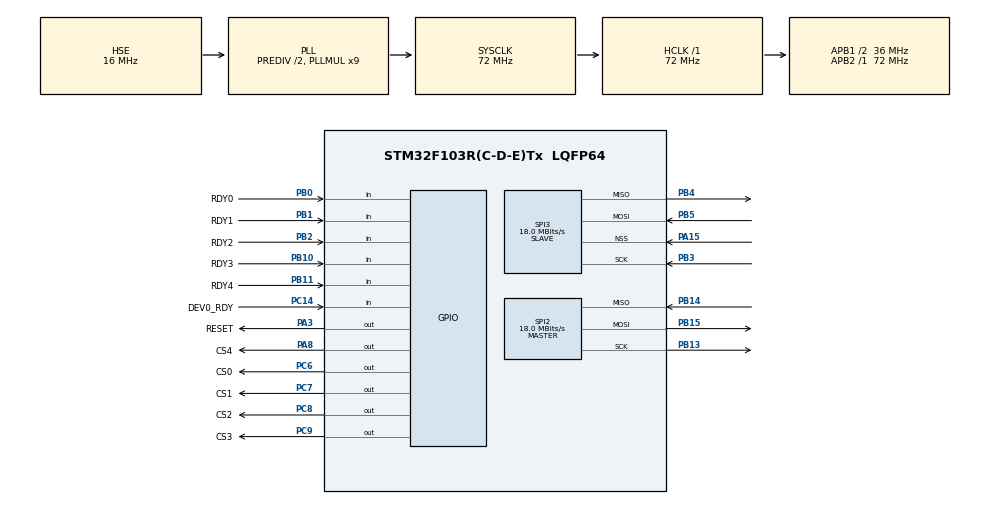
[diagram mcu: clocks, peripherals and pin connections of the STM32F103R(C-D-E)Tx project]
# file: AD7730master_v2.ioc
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Dma.Request0=SPI3_RX
Dma.Request1=SPI3_TX
Dma.SPI3_RX.0.Direction=DMA_PERIPH_TO_MEMORY
Dma.SPI3_RX.0.Instance=DMA2_Channel1
Dma.SPI3_RX.0.MemDataAlignment=DMA_MDATAALIGN_BYTE
Dma.SPI3_RX.0.MemInc=DMA_MINC_ENABLE
Dma.SPI3_RX.0.Mode=DMA_NORMAL
Dma.SPI3_RX.0.PeriphDataAlignment=DMA_PDATAALIGN_BYTE
Dma.SPI3_RX.0.PeriphInc=DMA_PINC_DISABLE
Dma.SPI3_RX.0.Priority=DMA_PRIORITY_VERY_HIGH
Dma.SPI3_TX.1.Direction=DMA_MEMORY_TO_PERIPH
Dma.SPI3_TX.1.Instance=DMA2_Channel2
Dma.SPI3_TX.1.MemDataAlignment=DMA_MDATAALIGN_BYTE
Dma.SPI3_TX.1.MemInc=DMA_MINC_ENABLE
Dma.SPI3_TX.1.Mode=DMA_NORMAL
Dma.SPI3_TX.1.PeriphDataAlignment=DMA_PDATAALIGN_BYTE
Dma.SPI3_TX.1.PeriphInc=DMA_PINC_DISABLE
Dma.SPI3_TX.1.Priority=DMA_PRIORITY_VERY_HIGH
Mcu.Family=STM32F1
Mcu.Name=STM32F103R(C-D-E)Tx
Mcu.Package=LQFP64
NVIC.DMA2_Channel1_IRQn=true\:1\:0\:true\:false\:true\:false\:true
NVIC.DMA2_Channel2_IRQn=true\:1\:0\:true\:false\:true\:false\:true
NVIC.PriorityGroup=NVIC_PRIORITYGROUP_4
NVIC.SPI2_IRQn=true\:1\:0\:true\:false\:true\:true\:true
PA13.Mode=Serial_Wire
PA13.Signal=SYS_JTMS-SWDIO
PA14.Mode=Serial_Wire
PA14.Signal=SYS_JTCK-SWCLK
PA15.Mode=NSS_Signal_Hard_Input
PA15.Signal=SPI3_NSS
PA3.GPIO_Label=RESET
PA3.GPIO_ModeDefaultOutputPP=GPIO_MODE_OUTPUT_PP
PA3.GPIO_PuPd=GPIO_PULLUP
PA3.PinState=GPIO_PIN_SET
PA3.Signal=GPIO_Output
PA8.GPIO_Label=CS4
PA8.GPIO_PuPd=GPIO_PULLUP
PA8.PinState=GPIO_PIN_SET
PA8.Signal=GPIO_Output
PB0.GPIO_Label=RDY0
PB0.Signal=GPIO_Input
PB1.GPIO_Label=RDY1
PB1.Signal=GPIO_Input
PB10.GPIO_Label=RDY3
PB10.Signal=GPIO_Input
PB11.GPIO_Label=RDY4
PB11.Signal=GPIO_Input
PB13.Mode=Full_Duplex_Master
PB13.Signal=SPI2_SCK
PB14.GPIO_PuPd=GPIO_NOPULL
PB14.Mode=Full_Duplex_Master
PB14.Signal=SPI2_MISO
PB15.Mode=Full_Duplex_Master
PB15.Signal=SPI2_MOSI
PB2.GPIO_Label=RDY2
PB2.Signal=GPIO_Input
PB3.GPIO_PuPd=GPIO_NOPULL
PB3.Mode=Full_Duplex_Slave
PB3.Signal=SPI3_SCK
PB4.Mode=Full_Duplex_Slave
PB4.Signal=SPI3_MISO
PB5.Mode=Full_Duplex_Slave
PB5.Signal=SPI3_MOSI
PC14-OSC32_IN.GPIO_Label=DEV0_RDY
PC14-OSC32_IN.Signal=GPIO_Input
PC6.GPIO_Label=CS0
PC6.GPIO_PuPd=GPIO_PULLUP
PC6.PinState=GPIO_PIN_SET
PC6.Signal=GPIO_Output
PC7.GPIO_Label=CS1
PC7.GPIO_PuPd=GPIO_PULLUP
PC7.PinState=GPIO_PIN_SET
PC7.Signal=GPIO_Output
PC8.GPIO_Label=CS2
PC8.GPIO_PuPd=GPIO_PULLUP
PC8.PinState=GPIO_PIN_SET
PC8.Signal=GPIO_Output
PC9.GPIO_Label=CS3
PC9.GPIO_PuPd=GPIO_PULLUP
PC9.PinState=GPIO_PIN_SET
PC9.Signal=GPIO_Output
PD0-OSC_IN.Mode=HSE-External-Oscillator
PD0-OSC_IN.Signal=RCC_OSC_IN
PD1-OSC_OUT.Mode=HSE-External-Oscillator
PD1-OSC_OUT.Signal=RCC_OSC_OUT
ProjectManager.HeapSize=0x200
ProjectManager.StackSize=0x400
ProjectManager.TargetToolchain=STM32CubeIDE
RCC.AHBFreq_Value=72000000
RCC.APB1CLKDivider=RCC_HCLK_DIV2
RCC.APB1Freq_Value=36000000
RCC.APB1TimFreq_Value=72000000
RCC.APB2Freq_Value=72000000
RCC.APB2TimFreq_Value=72000000
RCC.HCLKFreq_Value=72000000
RCC.HSEDivPLL=RCC_HSE_PREDIV_DIV2
RCC.HSE_VALUE=16000000
RCC.PLLMUL=RCC_PLL_MUL9
RCC.PLLSourceVirtual=RCC_PLLSOURCE_HSE
RCC.SYSCLKFreq_VALUE=72000000
RCC.SYSCLKSource=RCC_SYSCLKSOURCE_PLLCLK
RCC.USBFreq_Value=72000000
SPI2.BaudRatePrescaler=SPI_BAUDRATEPRESCALER_2
SPI2.CLKPhase=SPI_PHASE_2EDGE
SPI2.CalculateBaudRate=18.0 MBits/s
SPI2.Direction=SPI_DIRECTION_2LINES
SPI2.Mode=SPI_MODE_MASTER
SPI2.VirtualType=VM_MASTER
SPI3.BaudRatePrescaler=SPI_BAUDRATEPRESCALER_2
SPI3.CLKPhase=SPI_PHASE_2EDGE
SPI3.CLKPolarity=SPI_POLARITY_LOW
SPI3.CalculateBaudRate=18.0 MBits/s
SPI3.Direction=SPI_DIRECTION_2LINES
SPI3.Mode=SPI_MODE_SLAVE
SPI3.VirtualNSS=VM_NSSHARD
SPI3.VirtualType=VM_SLAVE
board=custom

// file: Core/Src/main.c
/* USER CODE BEGIN Header */
/**
  ******************************************************************************
  * @file           : main.c
  * @brief          : Main program body
  ******************************************************************************
  * @attention
  *
  * <h2><center>&copy; Copyright (c) 2020 STMicroelectronics.
  * All rights reserved.</center></h2>
  *
  * This software component is licensed by ST under BSD 3-Clause license,
  * the "License"; You may not use this file except in compliance with the
  * License. You may obtain a copy of the License at:
  *                        opensource.org/licenses/BSD-3-Clause
  *
  ******************************************************************************
  */
/* USER CODE END Header */
#include "main.h"
#include "dma.h"
#include "spi.h"
#include "gpio.h"

/* USER CODE BEGIN Includes */
#include "stdio.h"
#include "ad7730.h"
/* USER CODE END Includes */

/* USER CODE BEGIN PV */
uint8_t tx_buffer_3[BUFFER_SIZE_SPI3] = {READ_CONFIG,0,0x21,0xB0,0,0x04,0xB0,0x10,
										 0,0,0,0,0,0,0,0,
										 0,0,0,0,0,0,0,0,
										 0,0,0,0,0,0,0,0,
										 0,0,0,0,0,0,0,0,
										 0,0,0,0,0,0,0,0,
										 0,0,0,0,0,0,0,0,
										 0,0,0,0,0,0,0,0};

/* RX_BUFFER FORMAT
 * shadow_buffer[0:slave_state, 1:update_mode_params, 2-3:mode_params{w/o channel}, 4:update_filter_params, 5-7:filter_params]
 */
uint8_t rx_buffer_3[BUFFER_SIZE_SPI3] = {READ_CONFIG,0,0x21,0xB0,0,0x04,0xB0,0x10,
										 0,0,0,0,0,0,0,0,
										 0,0,0,0,0,0,0,0,
										 0,0,0,0,0,0,0,0,
										 0,0,0,0,0,0,0,0,
										 0,0,0,0,0,0,0,0,
										 0,0,0,0,0,0,0,0,
										 0,0,0,0,0,0,0,0};

//uint8_t rx_buffer_3[BUFFER_SIZE_SPI3] = {MONITOR,0x01,0x41,0x80,0x01,0x80,0x00,0x10,
//										 0,0,0,0,0,0,0,0,
//										 0,0,0,0,0,0,0,0,
//										 0,0,0,0,0,0,0,0,
//										 0,0,0,0,0,0,0,0,
//										 0,0,0,0,0,0,0,0,
//										 0,0,0,0,0,0,0,0,
//										 0,0,0,0,0,0,0,0};

/* SHADOW_BUFFER FORMAT
 * shadow_buffer[0...47:channel_1-16, 63:slave_state]
 */
uint8_t shadow_buffer_3_0[BUFFER_SIZE_SPI3];
uint8_t shadow_buffer_3_1[BUFFER_SIZE_SPI3];

uint8_t tx_buffer_2[BUFFER_SIZE_SPI2];
uint8_t rx_buffer_2[BUFFER_SIZE_SPI2];

/*
 * DEBUG_BUFFER
 */
//uint8_t shadow_buffer_3_2[BUFFER_SIZE_SPI3] = {0,0,1,0,0,1,0,0,
//											   1,0,0,1,0,0,1,0,
//											   0,1,0,0,1,0,0,1,
//											   0,0,1,0,0,1,0,0,
//											   1,0,0,1,0,0,1,0,
//											   0,1,0,0,1,0,0,1,
//											   0,0,1,0,0,1,0,0,
//											   1,0,0,1,0,0,0,0};

uint8_t shadow_buffer_3_2[BUFFER_SIZE_SPI3] = {0xDE,0xAD,0xBE,0xEF,0xDE,0xAD,0xBE,0xEF,
											   0xDE,0xAD,0xBE,0xEF,0xDE,0xAD,0xBE,0xEF,
											   0xDE,0xAD,0xBE,0xEF,0xDE,0xAD,0xBE,0xEF,
											   0xDE,0xAD,0xBE,0xEF,0xDE,0xAD,0xBE,0xEF,
											   0xDE,0xAD,0xBE,0xEF,0xDE,0xAD,0xBE,0xEF,
											   0xDE,0xAD,0xBE,0xEF,0xDE,0xAD,0xBE,0xEF,
											   0xDE,0xAD,0xBE,0xEF,0xDE,0xAD,0xBE,0xEF,
											   0xDE,0xAD,0xBE,0xEF,0xDE,0xAD,0xBE,0xEF,};

//Controller_State slave_state = CHECKING_SPI2;
Controller_State slave_state = READ_CONFIG;
uint8_t active_buffer = 0;
uint8_t buffer_updated = 0;
uint8_t conv_cmd = 0;

// Parameters
uint8_t AD7730_REGISTER_SIZE[8] = {1, 3, 2, 3, 1, 3, 3, 3}; //IO, DATA, MODE, FILTER, DAC, OFFSET, GAIN, TEST
uint8_t mode_register[2] = {0x51, 0xB4}; //01010001, 10110100 : modebits(3)| B/U | D_enable | D_value(2) | word length for data register, HIREF |0| input range(2) | MCLKdisable | burn out | Channel selection(2)
//single conversion mode | unipolar | AIN2 set as input | 00 | 24bit, ref=5v |0| Input range: 0to80mV | MCLKenable | burnout on | AIN1+ & AIN1-
uint8_t filter_register[3] = {0x80, 0x03, 0x10}; //default
uint8_t dac_register[TRANSDUCER_NUMBER] = {0x20, 0x20, 0x20}; //default
//uint8_t filter_register[3] = {0x80, 0x00, 0x10}; //SF value = 2048 Base sample rate of 50 Hz, SKIP OFF | FAST OFF, CHOP ON
/* USER CODE END PV */

void SystemClock_Config(void);
/* USER CODE BEGIN PFP */

static inline void copy_buffer(uint8_t dest_buffer[], uint8_t dest_size, uint8_t src_buffer[], uint8_t src_size) {
  for (uint8_t idx = 0; idx < src_size; idx++) {
    dest_buffer[idx] = src_buffer[idx];
  }
}

static inline void set_state(uint8_t command_idx) {
  switch (command_idx) {
    case 0xFD: //11111101, 253
      slave_state = MONITOR;
      break;

    case 0xFC: //11111100, 252
      slave_state = PROVIDE_DATA;
      break;

    case 0xFB: //11111011, 251
      slave_state = CHECKING_SPI2;
      break;

    case 0xFA: //11111010, 250
      slave_state = SETTING;
      break;

    default:
      slave_state = READ_CONFIG;
  }
}

void HAL_SPI_TxRxCpltCallback(SPI_HandleTypeDef *hspi) {

  if (hspi->Instance == SPI3) {
//    switch (active_buffer) {
//      case 0:
//        shadow_buffer_3_1[63] = slave_state; //3_1
//        HAL_SPI_TransmitReceive_DMA(&hspi3, shadow_buffer_3_1, rx_buffer_3, BUFFER_SIZE_SPI3);
////        HAL_SPI_TransmitReceive_DMA(&hspi3, shadow_buffer_3_2, rx_buffer_3, BUFFER_SIZE_SPI3);
//        buffer_updated = 1;
//        break;
//
//      case 1:
//        shadow_buffer_3_0[63] = slave_state; //3_0
//        HAL_SPI_TransmitReceive_DMA(&hspi3, shadow_buffer_3_0, rx_buffer_3, BUFFER_SIZE_SPI3);
////        HAL_SPI_TransmitReceive_DMA(&hspi3, shadow_buffer_3_2, rx_buffer_3, BUFFER_SIZE_SPI3);
//        buffer_updated = 1;
//        break;
//    }
    tx_buffer_3[63] = slave_state;
    HAL_SPI_TransmitReceive_DMA(&hspi3, tx_buffer_3, rx_buffer_3, BUFFER_SIZE_SPI3);

    set_state(rx_buffer_3[0]);
    if (rx_buffer_3[1] != 0)
    {
    	mode_register[0] = rx_buffer_3[2];
    	mode_register[1] = rx_buffer_3[3];
    }
    if (rx_buffer_3[4] != 0)
    {
    	filter_register[0] = rx_buffer_3[5];
    	filter_register[1] = rx_buffer_3[6];
    	filter_register[2] = rx_buffer_3[7];
    }
    if (rx_buffer_3[8] != 0)
	{
		for(uint8_t i = 0; i < TRANSDUCER_NUMBER; i++){
			dac_register[0] = rx_buffer_3[i+8];
		}
	}
  }

}
/* USER CODE END PFP */

int main(void)
{
  /* USER CODE BEGIN 1 */
//  setbuf(stdout, NULL);
  /* USER CODE END 1 */

  /* MCU Configuration--------------------------------------------------------*/

  /* Reset of all peripherals, Initializes the Flash interface and the Systick. */
  HAL_Init();

  /* Configure the system clock */
  SystemClock_Config();

  /* Initialize all configured peripherals */
  MX_GPIO_Init();
  MX_DMA_Init();
  MX_SPI2_Init();
  MX_SPI3_Init();
  /* USER CODE BEGIN 2 */
  static struct Transducer_SS_Info slave_infos[5] = { { CS0_Pin, CS0_GPIO_Port }, { CS1_Pin, CS1_GPIO_Port }, { CS2_Pin, CS2_GPIO_Port }, { CS3_Pin, CS3_GPIO_Port }, { CS4_Pin, CS4_GPIO_Port }};
  static struct Transducer_RDY_Info ready_infos[5] = { { RDY0_Pin, RDY0_GPIO_Port }, { RDY1_Pin, RDY1_GPIO_Port }, { RDY2_Pin, RDY2_GPIO_Port }, { RDY3_Pin, RDY3_GPIO_Port }, { RDY4_Pin, RDY4_GPIO_Port }};
  /* USER CODE END 2 */

  /* Infinite loop */
  /* USER CODE BEGIN WHILE */
//  HAL_GPIO_WritePin(RESET_GPIO_Port, RESET_Pin, GPIO_PIN_SET);
//  HAL_GPIO_WritePin(CS0_GPIO_Port, CS0_Pin, GPIO_PIN_SET);
//  HAL_GPIO_WritePin(CS1_GPIO_Port, CS1_Pin, GPIO_PIN_SET);
//  HAL_GPIO_WritePin(CS2_GPIO_Port, CS2_Pin, GPIO_PIN_SET);
  for (uint8_t dev_idx = 0; dev_idx < TRANSDUCER_NUMBER; dev_idx++)
	  ad7730_softreset(dev_idx, slave_infos);
  HAL_SPI_TransmitReceive_DMA(&hspi3, tx_buffer_3, rx_buffer_3, BUFFER_SIZE_SPI3);
  while (1)
  {
    /* USER CODE END WHILE */

    /* USER CODE BEGIN 3 */
	  switch (slave_state) {

	       case READ_CONFIG:
//	    	   copy_buffer(tx_buffer_3, BUFFER_SIZE_SPI3, rx_buffer_3, BUFFER_SIZE_SPI3);
//	    	   for (uint8_t dev_idx = 0; dev_idx < TRANSDUCER_NUMBER; dev_idx++) {
//				   ad7730_read_register(dev_idx, REG_FILTER_REGISTER, &tx_buffer_3[dev_idx * CONFIGDATA_SIZE + 8], slave_infos);
//			   }
//	    	   for (uint8_t dev_idx = 0; dev_idx < TRANSDUCER_NUMBER; dev_idx++) {
//	    		   ad7730_read_register(dev_idx, REG_DAC_REGISTER, &tx_buffer_3[dev_idx*CONFIGDATA_SIZE + 11], slave_infos);
//			   }
//	    	   for (uint8_t dev_idx = 0; dev_idx < TRANSDUCER_NUMBER; dev_idx++) {
//	    		   ad7730_read_register(dev_idx, REG_MODE_REGISTER, &tx_buffer_3[dev_idx*CONFIGDATA_SIZE + 12], slave_infos);
//			   }
//	    	   if (buffer_updated == 1) {
//	    		   switch (active_buffer) {
//					 case 0:
//					   copy_buffer(shadow_buffer_3_0, BUFFER_SIZE_SPI3, tx_buffer_3, BUFFER_SIZE_SPI3);
//					   break;
//
//					 case 1:
//					   copy_buffer(shadow_buffer_3_1, BUFFER_SIZE_SPI3, tx_buffer_3, BUFFER_SIZE_SPI3);
//					   break;
//				   }
//				   active_buffer ^= 1;
//				   buffer_updated = 0;
//	    	   }
//	    	   break;

	       case CHECKING_SPI2:

//	       	   copy_buffer(tx_buffer_3, BUFFER_SIZE_SPI3, rx_buffer_3, BUFFER_SIZE_SPI3);
//			   for (uint8_t dev_idx = 0; dev_idx < TRANSDUCER_NUMBER; dev_idx++) {
//				   ad7730_write_register(dev_idx, REG_FILTER_REGISTER, filter_register, slave_infos);
//			   }
////			   for (uint8_t dev_idx = 0; dev_idx < TRANSDUCER_NUMBER; dev_idx++) {
////				   ad7730_read_register(dev_idx, REG_IO_REGISTER, &tx_buffer_3[dev_idx + 8], slave_infos);
////			   }
//			   for (uint8_t dev_idx = 0; dev_idx < TRANSDUCER_NUMBER; dev_idx++) {
//				   ad7730_read_register(dev_idx, REG_FILTER_REGISTER, &tx_buffer_3[dev_idx * CONFIGDATA_SIZE+8], slave_infos);
//			   }
////			   for (uint8_t dev_idx = 0; dev_idx < TRANSDUCER_NUMBER; dev_idx++) {//setting a offset voltage between AIN+ and AIN-
////				 uint8_t DAC_command = 0x00 | 0x00; //+ | 20mV
////				 ad7730_write_register(dev_idx, REG_DAC_REGISTER, DAC_command, slave_infos);
////			   }
//			   for (uint8_t dev_idx = 0; dev_idx < TRANSDUCER_NUMBER; dev_idx++) {
//				 ad7730_read_register(dev_idx, REG_DAC_REGISTER, &tx_buffer_3[dev_idx*CONFIGDATA_SIZE + 11], slave_infos);
//			   }
////			   for (uint8_t dev_idx = 0; dev_idx < TRANSDUCER_NUMBER; dev_idx++) { //internal zero calibration
////				 uint8_t conversion_command[2] = {0x91, 0x80 | CHANNEL_A1};
////				 ad7730_write_register(dev_idx, REG_MODE_REGISTER, conversion_command, slave_infos);
////			   }
////			   for (uint8_t dev_idx = 0; dev_idx < TRANSDUCER_NUMBER; dev_idx++) { //internal full calibration
////				 uint8_t conversion_command[2] = {0xB1, 0x80 | CHANNEL_A1};
////				 ad7730_write_register(dev_idx, REG_MODE_REGISTER, conversion_command, slave_infos);
////			   }
//			   for (uint8_t dev_idx = 0; dev_idx < TRANSDUCER_NUMBER; dev_idx++) {
//				 uint8_t conversion_command[2] = {mode_register[0], mode_register[1] | CHANNEL_A1};
//				 ad7730_write_register(dev_idx, REG_MODE_REGISTER, conversion_command, slave_infos);
//			   }
//			   for (uint8_t dev_idx = 0; dev_idx < TRANSDUCER_NUMBER; dev_idx++) {
//				 ad7730_read_register(dev_idx, REG_MODE_REGISTER, &tx_buffer_3[dev_idx*CONFIGDATA_SIZE + 12], slave_infos);
//			   }
//			   for (uint8_t dev_idx = 0; dev_idx < TRANSDUCER_NUMBER; dev_idx++) {
//				 uint8_t conversion_command[2] = {mode_register[0], mode_register[1] | CHANNEL_A1};
//				 ad7730_write_register(dev_idx, REG_MODE_REGISTER, conversion_command, slave_infos);
//			   }
//			   //wait for ready
//		       for (uint8_t dev_idx = 0; dev_idx < TRANSDUCER_NUMBER; dev_idx++) {
//		         while (HAL_GPIO_ReadPin(ready_infos[dev_idx].rdy_port, ready_infos[dev_idx].rdy_pin) == GPIO_PIN_SET) {
//		          uint8_t dbg = dev_idx;
//		         }
//		         ad7730_read_register(dev_idx, REG_DATA_REGISTER, &tx_buffer_3[dev_idx * CONFIGDATA_SIZE + 16], slave_infos);
//		       }
	       	//TODO Make do while loop
//			  if (buffer_updated == 1) {
//	           switch (active_buffer) {
//	             case 0:
//	               copy_buffer(shadow_buffer_3_0, BUFFER_SIZE_SPI3, tx_buffer_3, BUFFER_SIZE_SPI3);
//	               break;
//
//	             case 1:
//	               copy_buffer(shadow_buffer_3_1, BUFFER_SIZE_SPI3, tx_buffer_3, BUFFER_SIZE_SPI3);
//	               break;
//	           }
//			   active_buffer ^= 1;
//			   buffer_updated = 0;
//			 }
			 break;

	       case SETTING:
//	    	   copy_buffer(tx_buffer_3, BUFFER_SIZE_SPI3, rx_buffer_3, BUFFER_SIZE_SPI3);

			   for (uint8_t dev_idx = 0; dev_idx < TRANSDUCER_NUMBER; dev_idx++) {
				   ad7730_write_register(dev_idx, REG_FILTER_REGISTER, filter_register, slave_infos);
			   }
//			   for (uint8_t dev_idx = 0; dev_idx < TRANSDUCER_NUMBER; dev_idx++) {
//				   ad7730_read_register(dev_idx, REG_FILTER_REGISTER, &tx_buffer_3[dev_idx * CONFIGDATA_SIZE], slave_infos);
////				   ad7730_read_register(dev_idx, REG_FILTER_REGISTER, &tx_buffer_3[dev_idx * CONFIGDATA_SIZE+8], slave_infos);
//			   }
			   for (uint8_t dev_idx = 0; dev_idx < TRANSDUCER_NUMBER; dev_idx++) {//setting a offset voltage between AIN+ and AIN-
//			     uint8_t DAC_command = 0x20 | 0x04; //- | 10mV
				 ad7730_write_register(dev_idx, REG_DAC_REGISTER, &dac_register[dev_idx], slave_infos);
			   }
//			   for (uint8_t dev_idx = 0; dev_idx < TRANSDUCER_NUMBER; dev_idx++) {
//				 ad7730_read_register(dev_idx, REG_DAC_REGISTER, &tx_buffer_3[dev_idx*CONFIGDATA_SIZE + 3], slave_infos);
////				 ad7730_read_register(dev_idx, REG_DAC_REGISTER, &tx_buffer_3[dev_idx*CONFIGDATA_SIZE + 11], slave_infos);
//			   }
			   for (uint8_t dev_idx = 0; dev_idx < TRANSDUCER_NUMBER; dev_idx++) {
				 uint8_t conversion_command[2] = {0x81, mode_register[1] | CHANNEL_A1}; //Internal Zero Calibaration
				 ad7730_write_register(dev_idx, REG_MODE_REGISTER, conversion_command, slave_infos);
				 while (HAL_GPIO_ReadPin(ready_infos[dev_idx].rdy_port, ready_infos[dev_idx].rdy_pin) == GPIO_PIN_SET) {
//				   uint8_t dbg = dev_idx;
				 }
			   }
			   for (uint8_t dev_idx = 0; dev_idx < TRANSDUCER_NUMBER; dev_idx++) {
				 uint8_t conversion_command[2] = {0xA1, mode_register[1] | CHANNEL_A1}; //Internal Full Calibaration
				 ad7730_write_register(dev_idx, REG_MODE_REGISTER, conversion_command, slave_infos);
				 while (HAL_GPIO_ReadPin(ready_infos[dev_idx].rdy_port, ready_infos[dev_idx].rdy_pin) == GPIO_PIN_SET) {
//				   uint8_t dbg = dev_idx;
				 }
			   }
			   for (uint8_t dev_idx = 0; dev_idx < TRANSDUCER_NUMBER; dev_idx++) {
				 uint8_t conversion_command[2] = {mode_register[0], mode_register[1] | CHANNEL_A1};
				 ad7730_write_register(dev_idx, REG_MODE_REGISTER, conversion_command, slave_infos);
				 while (HAL_GPIO_ReadPin(ready_infos[dev_idx].rdy_port, ready_infos[dev_idx].rdy_pin) == GPIO_PIN_SET) {
//				   uint8_t dbg = dev_idx;
				 }
			   }
//			   for (uint8_t dev_idx = 0; dev_idx < TRANSDUCER_NUMBER; dev_idx++) {
//				 ad7730_read_register(dev_idx, REG_MODE_REGISTER, &tx_buffer_3[dev_idx*CONFIGDATA_SIZE + 4], slave_infos);
////				 ad7730_read_register(dev_idx, REG_MODE_REGISTER, &tx_buffer_3[dev_idx*CONFIGDATA_SIZE + 12], slave_infos);
//			   }
//			   for (uint8_t dev_idx = 0; dev_idx < TRANSDUCER_NUMBER; dev_idx++) {
//				 uint8_t conversion_command[2] = {mode_register[0], mode_register[1] | CHANNEL_A1};
//				 ad7730_write_register(dev_idx, REG_MODE_REGISTER, conversion_command, slave_infos);
//				 while (HAL_GPIO_ReadPin(ready_infos[dev_idx].rdy_port, ready_infos[dev_idx].rdy_pin) == GPIO_PIN_SET) {
//				   uint8_t dbg = dev_idx;
//				 }
//			   }

//			   if (buffer_updated == 1) {
//				   switch (active_buffer) {
//				   	   case 0:
//					   	   copy_buffer(shadow_buffer_3_0, BUFFER_SIZE_SPI3, tx_buffer_3, BUFFER_SIZE_SPI3);
//					   	   break;
//
//				   	   case 1:
//				   		   copy_buffer(shadow_buffer_3_1, BUFFER_SIZE_SPI3, tx_buffer_3, BUFFER_SIZE_SPI3);
//				   		   break;
//				   }
//				   active_buffer ^= 1;
//				   buffer_updated = 0;
//			   }
			   break;
//
	       case PROVIDE_DATA:
//	    	 if(!conv_cmd){
//				 for (uint8_t dev_idx = 0; dev_idx < TRANSDUCER_NUMBER; dev_idx++) {
//				   uint8_t conversion_command[2] = {0x31, mode_register[1] | CHANNEL_A1};
//				   ad7730_write_register(dev_idx, REG_MODE_REGISTER, conversion_command, slave_infos);
//				 }
////				 for (uint8_t dev_idx = 0; dev_idx < TRANSDUCER_NUMBER; dev_idx++) {
////				   uint8_t conversion_command[2] = {0x31, mode_register[1] | CHANNEL_A2};
////				   ad7730_write_register(dev_idx, REG_MODE_REGISTER, conversion_command, slave_infos);
////				 }
//				 conv_cmd = 1;
//	    	 }
//
//			 //TODO Make do while loop
//			 for (uint8_t dev_idx = 0; dev_idx < TRANSDUCER_NUMBER; dev_idx++) {
////	           while (HAL_GPIO_ReadPin(ready_infos[dev_idx].rdy_port, ready_infos[dev_idx].rdy_pin) == GPIO_PIN_SET) {
////	         	  //uint8_t dbg = dev_idx;
////	           }
//			   ad7730_read_register(dev_idx, REG_DATA_REGISTER, &tx_buffer_3[dev_idx * 6], slave_infos);
//			 }
//	           switch (active_buffer) {
//	             case 0:
//	               copy_buffer(shadow_buffer_3_0, BUFFER_SIZE_SPI3, tx_buffer_3, BUFFER_SIZE_SPI3);
//	               break;
//
//	             case 1:
//	               copy_buffer(shadow_buffer_3_1, BUFFER_SIZE_SPI3, tx_buffer_3, BUFFER_SIZE_SPI3);
//	               break;
//	           }
//			   active_buffer ^= 1;
//			   buffer_updated = 0;
	         break;

	       case MONITOR:

	         /*
	          * Reason for using six instead of one big loop:
	          *
	          * To give load cell controllers as much time
	          * as possible for processing the input without waiting
	          * data is send to the controllers one by one.
	          * Doing so the time used for sending data to the
	          * remaining controllers gives the first one time to process the input.
	          *
	          */

//             copy_buffer(tx_buffer_3, BUFFER_SIZE_SPI3, rx_buffer_3, BUFFER_SIZE_SPI3);

//	         for (uint8_t dev_idx = 0; dev_idx < TRANSDUCER_NUMBER; dev_idx++) {
//	           ad7730_write_register(dev_idx, REG_FILTER_REGISTER, filter_register, slave_infos);
//	         }
             for (uint8_t dev_idx = 0; dev_idx < TRANSDUCER_NUMBER; dev_idx++) {
			   ad7730_read_register(dev_idx, REG_FILTER_REGISTER, &tx_buffer_3[dev_idx * CONFIGDATA_SIZE + 16], slave_infos);
			 }
             for (uint8_t dev_idx = 0; dev_idx < TRANSDUCER_NUMBER; dev_idx++) {
			   ad7730_read_register(dev_idx, REG_DAC_REGISTER, &tx_buffer_3[dev_idx*CONFIGDATA_SIZE + 19], slave_infos);
		     }
             for (uint8_t dev_idx = 0; dev_idx < TRANSDUCER_NUMBER; dev_idx++) {
			   ad7730_read_register(dev_idx, REG_MODE_REGISTER, &tx_buffer_3[dev_idx*CONFIGDATA_SIZE + 20], slave_infos);
			 }
             if(!conv_cmd){ // To set continuous read mode of a channel
				 for (uint8_t dev_idx = 0; dev_idx < TRANSDUCER_NUMBER; dev_idx++) {
				   uint8_t conversion_command[2] = {mode_register[0], mode_register[1] | CHANNEL_A1};
				   ad7730_write_register(dev_idx, REG_MODE_REGISTER, conversion_command, slave_infos);
				   while (HAL_GPIO_ReadPin(ready_infos[dev_idx].rdy_port, ready_infos[dev_idx].rdy_pin) == GPIO_PIN_SET) {
//					  uint8_t dbg = dev_idx;
				   }
				 }
				 conv_cmd = 1;
             }

	         //TODO Make do while loop

//	         for (uint8_t dev_idx = 0; dev_idx < TRANSDUCER_NUMBER; dev_idx++) {
//	           uint8_t conversion_command[2] = {mode_register[0], mode_register[1] | CHANNEL_A2};
//	           ad7730_write_register(dev_idx, REG_MODE_REGISTER, conversion_command, slave_infos);
//	         }
//
//			 for (uint8_t dev_idx = 0; dev_idx < TRANSDUCER_NUMBER; dev_idx++) {
//			   ad7730_read_register(dev_idx, REG_FILTER_REGISTER, &tx_buffer_3[dev_idx*CONFIGDATA_SIZE], slave_infos);
//			 }
//			 for (uint8_t dev_idx = 0; dev_idx < TRANSDUCER_NUMBER; dev_idx++) {
//			   ad7730_read_register(dev_idx, REG_DAC_REGISTER, &tx_buffer_3[dev_idx*CONFIGDATA_SIZE + 3], slave_infos);
//			 }
//		     for (uint8_t dev_idx = 0; dev_idx < TRANSDUCER_NUMBER; dev_idx++) {
//		       ad7730_read_register(dev_idx, REG_MODE_REGISTER, &tx_buffer_3[dev_idx*CONFIGDATA_SIZE + 3], slave_infos);
//			 }
	         for (uint8_t dev_idx = 0; dev_idx < TRANSDUCER_NUMBER; dev_idx++) {
//	           while (HAL_GPIO_ReadPin(ready_infos[dev_idx].rdy_port, ready_infos[dev_idx].rdy_pin) == GPIO_PIN_SET) {
//	         	  //uint8_t dbg = dev_idx;
//	           }
	           ad7730_read_register(dev_idx, REG_DATA_REGISTER, &tx_buffer_3[dev_idx * DATA_SIZE], slave_infos);
	         }

	         /*
	          * Switch shadow buffer when new data is available
	          * and set indicator flag for SPI-slave callback
	          */
//	         if (buffer_updated == 1) {
//	           switch (active_buffer) {
//	             case 0:
//	               copy_buffer(shadow_buffer_3_0, BUFFER_SIZE_SPI3, tx_buffer_3, BUFFER_SIZE_SPI3);
//	               break;
//
//	             case 1:
//	               copy_buffer(shadow_buffer_3_1, BUFFER_SIZE_SPI3, tx_buffer_3, BUFFER_SIZE_SPI3);
//	               break;
//	           }
//	           active_buffer ^= 1;
//	           buffer_updated = 0;
//	         }

	         break;

	     }

  }
  /* USER CODE END 3 */
}

void SystemClock_Config(void)
{
  RCC_OscInitTypeDef RCC_OscInitStruct = {0};
  RCC_ClkInitTypeDef RCC_ClkInitStruct = {0};

  /** Initializes the RCC Oscillators according to the specified parameters
  * in the RCC_OscInitTypeDef structure.
  */
  RCC_OscInitStruct.OscillatorType = RCC_OSCILLATORTYPE_HSE;
  RCC_OscInitStruct.HSEState = RCC_HSE_ON;
  RCC_OscInitStruct.HSEPredivValue = RCC_HSE_PREDIV_DIV2;
  RCC_OscInitStruct.HSIState = RCC_HSI_ON;
  RCC_OscInitStruct.PLL.PLLState = RCC_PLL_ON;
  RCC_OscInitStruct.PLL.PLLSource = RCC_PLLSOURCE_HSE;
  RCC_OscInitStruct.PLL.PLLMUL = RCC_PLL_MUL9;
  if (HAL_RCC_OscConfig(&RCC_OscInitStruct) != HAL_OK)
  {
    Error_Handler();
  }
  /** Initializes the CPU, AHB and APB buses clocks
  */
  RCC_ClkInitStruct.ClockType = RCC_CLOCKTYPE_HCLK|RCC_CLOCKTYPE_SYSCLK
                              |RCC_CLOCKTYPE_PCLK1|RCC_CLOCKTYPE_PCLK2;
  RCC_ClkInitStruct.SYSCLKSource = RCC_SYSCLKSOURCE_PLLCLK;
  RCC_ClkInitStruct.AHBCLKDivider = RCC_SYSCLK_DIV1;
  RCC_ClkInitStruct.APB1CLKDivider = RCC_HCLK_DIV2;
  RCC_ClkInitStruct.APB2CLKDivider = RCC_HCLK_DIV1;

  if (HAL_RCC_ClockConfig(&RCC_ClkInitStruct, FLASH_LATENCY_2) != HAL_OK)
  {
    Error_Handler();
  }
}

/* USER CODE BEGIN 4 */
int _write(int file, char *ptr, int len)
{
  int DataIdx;
  for(DataIdx=0; DataIdx<len; DataIdx++)
  {
    ITM_SendChar(*ptr++);
  }
  return len;
}
/* USER CODE END 4 */

void Error_Handler(void)
{
  /* USER CODE BEGIN Error_Handler_Debug */
  /* User can add his own implementation to report the HAL error return state */
  while(1);
  /* USER CODE END Error_Handler_Debug */
}

/************************ (C) COPYRIGHT STMicroelectronics *****END OF FILE****/
